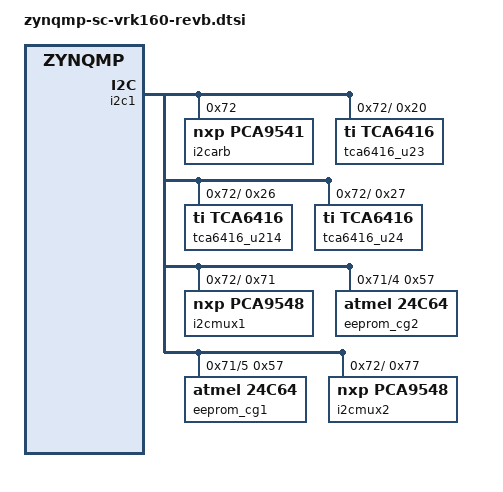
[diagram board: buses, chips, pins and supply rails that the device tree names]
// SPDX-License-Identifier: GPL-2.0
/*
 * dts file for SC on VRK160 revB (k24)
 *
 * (C) Copyright 2025 - 2026, Advanced Micro Devices, Inc.
 *
 * Michal Simek <michal.simek@amd.com>
 */

&{/} {
	compatible = "xlnx,zynqmp-sc-vrk160-revB",
		     "xlnx,zynqmp-sc-vrk160", "xlnx,zynqmp";
	model = "ZynqMP SC VRK160 revB";
};

&i2c0 { /* I2C_SCK C23/C24 - MIO 66/67 */
	/* board_i2c0 */
};

&i2c1 { /* I2C_SCK C23/C24 - MIO from SOM */
	#address-cells = <1>;
	#size-cells = <0>;

	i2carb: i2c-arbitrator@72 { /* u18 */
		compatible = "nxp,pca9541";
		reg = <0x72>;

		i2carb1: i2c-arb {
			#address-cells = <1>;
			#size-cells = <0>;
			/* board_i2c1 */

			tca6416_u23: gpio@20 { /* u23 */
				compatible = "ti,tca6416";
				reg = <0x20>;
				gpio-controller; /* interrupt on MIO69 */
				#gpio-cells = <2>;
				gpio-line-names = "SFP_04_TX_FAULT", "SFP_04_RX_LOS", "SFP_04_MOD_ABS", "SFP_04_TX_DISABLE", /* 0 - 3 */
						"SFP_04_RS0", "SFP_04_RS1", "", "", /* 4 - 7 */
						"FMCP1_FMC_PRSNT_M2C_B", "FMCP1_FMCP_PRSNT_M2C_B", "PMBUS4_INA_ALERT", "PMBUS3_INA_ALERT", /* 10 - 13 */
						"PMBUS2_INA_ALERT", "PMBUS1_INA_ALERT", "PMBUS1_NIRQ", "PMBUS1_ALERT"; /* 14 - 17 */
			};

			tca6416_u214: gpio@26 { /* u214 */
				compatible = "ti,tca6416";
				reg = <0x26>;
				gpio-controller; /* interrupt on MIO69 */
				#gpio-cells = <2>;
				gpio-line-names = "SFP_02_TX_FAULT", "SFP_02_RX_LOS", "SFP_02_MOD_ABS", "SFP_02_TX_DISABLE", /* 0 - 3 */
						"SFP_02_RS0", "SFP_02_RS1", "", "", /* 4 - 7 */
						"SFP_03_TX_FAULT", "SFP_03_RX_LOS", "SFP_03_MOD_ABS", "SFP_03_TX_DISABLE", /* 10 - 13 */
						"SFP_03_RS0", "SFP_03_RS1", "", ""; /* 14 - 17 */
			};

			tca6416_u24: gpio@27 { /* u24 */
				compatible = "ti,tca6416";
				reg = <0x27>;
				gpio-controller; /* interrupt on MIO69 */
				#gpio-cells = <2>;
				gpio-line-names = "QSFP1_MODSELL", "QSFP1_RESETL", "QSFP1_MODPRSL", "QSFP1_INTL", /* 0 - 3 */
						"QSFP1_LPMODE", "", "", "", /* 4 - 7 */
						"SFP_01_TX_FAULT", "SFP_01_RX_LOS", "SFP_01_MOD_ABS", "SFP_01_TX_DISABLE", /* 10 - 13 */
						"SFP_01_RS0", "SFP_01_RS1", "", ""; /* 14 - 17 */
			};

			i2cmux1: i2c-mux@71 { /* u19 */
				compatible = "nxp,pca9548";
				#address-cells = <1>;
				#size-cells = <0>;
				reg = <0x71>;
				i2cmux0_0: i2c@0 {
					#address-cells = <1>;
					#size-cells = <0>;
					reg = <0>;
					/* pmbus1 */
					/* J3 connector */
					/* u136 mpq2283 0x12 */
					/* u146 mpq2283 0x1a */
					/* u148 mpq2283 0x1c */
					/* u143 mpq2285 0x1d */
					/* u55 mpq72963 0x22 */
					/* u31 mpq72963 0x23 */
					/* u46 mpq72963 0x24 */
					/* u167 ucd90320 0x77 */
				};
				i2cmux0_1: i2c@1 {
					#address-cells = <1>;
					#size-cells = <0>;
					reg = <1>;
					/* pmbus2 */
					/* J4 connector */
					/* u142 mpq2283 0x1 */
					/* u149 mpq2285 0x2 */
					/* u151 mpq2283 0x3 */
					/* u152 mpq2283 0x4 */
					/* u134 mpq2283 0x1e */
					/* u135 mpq2283 0x1f */
					/* u137 mpq2283 0x13 */
					/* u138 mpq2283 0x14 */
					/* u139 mpq2283 0x16 */
					/* u140 mpq2283 0x17 */
					/* u141 mpq2283 0x18 */
					/* u145 mpq2283 0x19 */
					/* u147 mpq2283 0x1b */
					/* u6 mp54522 61 (revA), lt7182s 0x41 (revB) */
					/* u7 mp54522 62 (revA), lt7182s 0x42 (revB) */
					/* u8 mp54322 63 (revA), lt7182s 0x43 (revB) */
					/* u9 mp54322 64 (revA), lt7182s 0x44 (revB) */
				};
				i2cmux0_2: i2c@2 {
					#address-cells = <1>;
					#size-cells = <0>;
					reg = <2>;
					/* pmbus1_ina */
					/* u42 ina745a 0x40 vccint_gt_bus */
					/* u57 ina745a 0x41 vcc_soc_bus */
					/* u45 ina745a 0x44 lp5_vcco_1v0 */
					/* u153 ina700a 0x45 vccaux_pmc */
					/* u154 ina700a 0x46 vcco_50x */
					/* u155 ina700a 0x47 vcco_io */
					/* u37 ina745a 0x48 vccint_bus1 */
					/* u39 ina745a 0x49 vccint_bus2 */
					/* u38 ina745a 0x4a vccint_bus3 */
					/* u40 ina745a 0x4b vccint_bus4 */
					/* u41 ina745a 0x4C vccint_bus5 */
				};
				i2cmux0_3: i2c@3 {
					#address-cells = <1>;
					#size-cells = <0>;
					reg = <3>;
					/* pmbus2_ina */
					/* u156 ina700a 0x44 vcc_pmc */
					/* u157 ina700a 0x45 vcc_ram */
					/* u157 ina700a 0x46 vccaux */
					/* u150 ina700a 0x47 vadj_fmc */
					/* u49 ina745a 0x48 vcc_aie_bus1 */
					/* u50 ina745a 0x49 vcc_aie_bus2 */
				};
				i2cmux0_4: i2c@4 {
					#address-cells = <1>;
					#size-cells = <0>;
					reg = <4>;
					/* clkgen_sit95314_2 */
					/* u211 sit95314 0x69 - 4 outputs */

					eeprom_u212: eeprom@57 { /* also at 0x5f */
						compatible = "atmel,24c64";
						label = "eeprom_cg2";
						reg = <0x57>;
					};
				};
				i2cmux0_5: i2c@5 {
					#address-cells = <1>;
					#size-cells = <0>;
					reg = <5>;
					/* clkgen_sit95314_1 */
					/* u209 sit95314 0x69 - 4 outputs */
					eeprom_u210: eeprom@57 { /* also at 0x5f */
						compatible = "atmel,24c64";
						label = "eeprom_cg1";
						reg = <0x57>;
					};
				};
				i2cmux0_6: i2c@6 {
					#address-cells = <1>;
					#size-cells = <0>;
					reg = <6>;
					/* pmbus3_ina */
					/* u203 ina700a 0x43 adc_avcc */
					/* u159 ina700a 0x44 vcco_302 */
					/* u160 ina700a 0x45 gtyp1_avccaux */
					/* u144 ina700a 0x46 gtyp_avtt */
					/* u133 ina700a 0x47 vcc_psfp */
				};
				i2cmux0_7: i2c@7 {
					#address-cells = <1>;
					#size-cells = <0>;
					reg = <7>;
					/* pmbus4_ina */
					/* u131 ina700a 0x44 vcc_pslp */
					/* u52 ina700a 0x45 gtm_avtt */
					/* u54 ina700a 0x46 gtm_avcc */
				};
			};

			i2cmux2: i2c-mux@77 { /* u20 */
				compatible = "nxp,pca9548";
				#address-cells = <1>;
				#size-cells = <0>;
				reg = <0x77>;
				i2cmux2_0: i2c@0 {
					#address-cells = <1>;
					#size-cells = <0>;
					reg = <0>;
					/* nc */
				};
				i2cmux2_1: i2c@1 {
					#address-cells = <1>;
					#size-cells = <0>;
					reg = <1>;
					/* nc */
				};
				i2cmux2_2: i2c@2 {
					#address-cells = <1>;
					#size-cells = <0>;
					reg = <2>;
					/* pmbus_seq */
					/* u167 ucd90320 0x73 */
					/* j163 connector */
				};
				i2cmux2_3: i2c@3 {
					#address-cells = <1>;
					#size-cells = <0>;
					reg = <3>;
					/* si5518 */
					/* u59 si5518 0x60 */
					/* j31 connector */
				};
				i2cmux2_4: i2c@4 {
					#address-cells = <1>;
					#size-cells = <0>;
					reg = <4>;
					/* usb0_hub */
					/* DNP u242 usb5744 */
				};
				i2cmux2_5: i2c@5 {
					#address-cells = <1>;
					#size-cells = <0>;
					reg = <5>;
					/* nc */
				};
				i2cmux2_6: i2c@6 {
					#address-cells = <1>;
					#size-cells = <0>;
					reg = <6>;
					/* nc */
				};
				i2cmux2_7: i2c@7 {
					#address-cells = <1>;
					#size-cells = <0>;
					reg = <7>;
					/* nc */
				};
			};
		};
	};
};

&zynqmp_dpsub {
	status = "disabled";
};
